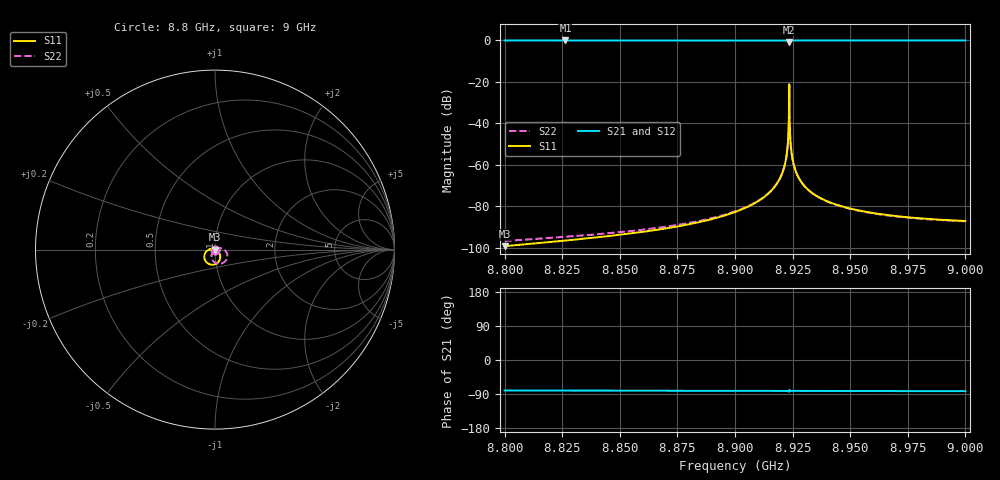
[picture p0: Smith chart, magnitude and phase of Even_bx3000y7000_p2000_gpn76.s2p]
! Sonnet Data File
! From: emgraph Version : 16.52
! From Project: Resonator2_cp_cp
! Data is De-embedded
! Data File Written: 10/06/2017 09:20:31
!< HDATE 10/05/2017 21:11:40
!< MDATE 10/05/2017 21:11:40
!< PARAMS
!< gap = 76.0
!< Length = 400.0
!< Pwid1 = 2000.0
!< Pwid2 = 2000.0
!< END PARAMS
# GHZ S MA R 51.80000
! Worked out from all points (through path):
!   1597 points, 8.8 GHz to 9 GHz, reference 51.8 ohm
!   highest |S21| = 0.00 dB at 8.8264 GHz (marker M1); lowest = -0.8 dB at 8.9235 GHz (marker M2)
!   group delay of S21, straight-line fit = 25.4 ps
!   lowest |S11| = -99.2 dB at 8.8 GHz (marker M3), VSWR 1.00, Z = 51.8 - j0.000721 ohm
!   |S11| at or under -10 dB: start of sweep to end of sweep
!   |S22| runs from -96.6 to -21.2 dB; largest |S21 - S12| = 0
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8.8  1.101e-05 -39.2  1 -80.5  1 -80.5  1.474e-05 70.0
!< P1 F=8.8 Eeff=(6.44679989 -2.9721e-5) Z0=(51.7992624 1.19519e-4) R=0.0 C=0.0
!< P2 F=8.8 Eeff=(6.44679989 -2.9721e-5) Z0=(51.7992624 1.19519e-4) R=0.0 C=0.0
8.8264  1.506e-05 -33.7  1 -80.7  1 -80.7  1.846e-05 62.6
8.8334  1.644e-05 -32.7  1 -80.8  1 -80.8  1.978e-05 60.9
8.8668  2.76e-05 -28.9  1 -81.1  1 -81.1  3.06e-05 53.4
8.9  7.328e-05 -24.1  1 -81.4  1 -81.4  7.583e-05 44.1
8.9112  0.0001474 -22.1  1 -81.5  1 -81.5  0.0001498 40.4
8.920191  0.0005726 -20.5  1 -81.6  1 -81.6  0.0005747 37.0
8.9218  0.001113 -20.5  1 -81.7  1 -81.7  0.001115 36.0
8.922796  0.002622 -21.3  0.9999 -81.8  0.9999 -81.8  0.002623 34.7
8.923331  0.009349 -25.6  0.999 -82.2  0.999 -82.2  0.009349 30.0
8.92345  0.02152 -33.8  0.9949 -82.8  0.9949 -82.8  0.02152 21.8
8.923539  0.08686 -109.9  0.9131 -81.6  0.9131 -81.6  0.08685 -54.3
8.923601  0.03007 178.0  0.9914 -80.0  0.9914 -80.0  0.03006 -126.5
8.923671  0.01467 169.2  0.9979 -80.8  0.9979 -80.8  0.01467 -135.3
8.923923  0.0051 163.9  0.9997 -81.3  0.9997 -81.3  0.005097 -140.7
8.924416  0.002245 162.2  0.9999 -81.5  0.9999 -81.5  0.002242 -142.7
8.925201  0.00119 161.7  1 -81.6  1 -81.6  0.001188 -143.7
8.9282  0.0004333 161.9  1 -81.6  1 -81.6  0.0004311 -145.2
8.933347  0.0002132 162.8  1 -81.7  1 -81.7  0.0002112 -147.1
8.9458  0.0001024 165.1  1 -81.8  1 -81.8  0.0001007 -151.0
8.9668  6.128e-05 168.6  1 -82.0  1 -82.0  5.991e-05 -156.7
9  4.461e-05 173.1  1 -82.3  1 -82.3  4.367e-05 -163.5
